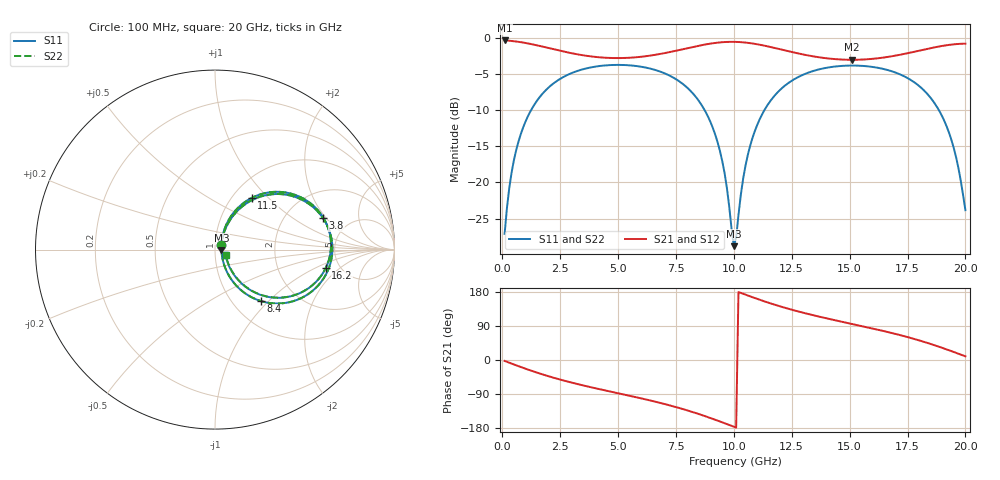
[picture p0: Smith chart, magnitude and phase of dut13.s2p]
! Touchstone file exported from HFSS 2026.1.0
!  File:  C:/ffzhzh/LocalFiles/Ansys_Project_Files/temp_train_TSV_RDL_13_1782961690_45568.aedt
!  Generated:  11:20:09 AM Jul  2, 2026
!  Design:  TSV_RDL
!  Project:  temp_train_TSV_RDL_13_1782961690_45568
! Variables:
!  h_bsmrdl = 3.62um
!  h_ox = 20um
!  h_rdl = 5um
!  h_sub = 79.27um
!  h_tmrdl = 4.14um
!  h_tsv = 79.27um
!  h_via = 3um
!  l_bsmrdl = 866.64um
!  l_sub = 5837.88um
!  l_tmrdl = 687.68um
!  m_sub = 200um
!  pitch = 59.45um
!  r_tsv = 14.25um
!  s_tmrdl = 10um
!  w_bsmrdl = 15.38um
!  w_sub = 500um
!  w_tmrdl = 13.7um
!  x_tsv_center1 = 694.53um
!  x_tsv_center2 = 1576.55um
!  x_tsv_center3 = 2277.93um
!  x_tsv_center4 = 3159.95um
!  x_tsv_center5 = 3861.33um
!  x_tsv_center6 = 4743.35um
# GHz S MA R 50.000000
! Terminal data exported
! Port[1] = TM_RDL1_1_T1
! Port[2] = TM_RDL5_1_T1
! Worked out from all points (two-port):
!   200 points, 100 MHz to 20 GHz, reference 50 ohm
!   highest |S21| = -0.30 dB at 100 MHz (marker M1); lowest = -3.0 dB at 15.1 GHz (marker M2)
!   |S21| within 3 dB of the highest: start of sweep to end of sweep
!   lowest |S11| = -28.8 dB at 10 GHz (marker M3), VSWR 1.08, Z = 53.7 - j0.416 ohm
!   |S11| at or under -10 dB: start of sweep to 1.239 GHz; 8.743 GHz to 11.32 GHz (2.572 GHz wide, 25.6 % of centre); 18.86 GHz to end of sweep
!   |S22| runs from -28.8 to -3.7 dB; largest |S21 - S12| = 1.6e-14
!   S11 on the Smith chart (normalised r, x): 100 MHz: 1.07, +0.06; 3.8 GHz: 3.22, +1.85; 8.4 GHz: 1.34, -0.90; 11.5 GHz: 1.22, +0.80; 16.2 GHz: 3.86, -1.32; 20 GHz: 1.12, -0.06
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0.1  0.044 38.2  0.9662 -2.4  0.9662 -2.4  0.044 38.2
! Gamma 0 0 0 0
! Port Impedance 50 0 50 0
0.5  0.1424 63.6  0.9546 -11.8  0.9546 -11.8  0.1424 63.6
1.1  0.2864 57.6  0.9221 -25.1  0.9221 -25.1  0.2864 57.6
2.2  0.485 39.5  0.8409 -46.5  0.8409 -46.5  0.485 39.5
3.5  0.611 20.2  0.7618 -67.2  0.7618 -67.2  0.611 20.2
3.8  0.6271 16.2  0.7499 -71.5  0.7499 -71.5  0.627 16.2
5.3  0.6523 -3.1  0.7306 -91.7  0.7306 -91.7  0.6523 -3.1
6.8  0.589 -23.1  0.7779 -112.9  0.7779 -112.9  0.589 -23.1
8.4  0.3844 -48.3  0.8824 -140.9  0.8824 -140.9  0.3844 -48.2
9.4  0.1653 -61.9  0.9365 -162.3  0.9365 -162.3  0.1653 -61.8
9.7  0.09162 -58.0  0.9436 -169.1  0.9436 -169.1  0.09159 -58.0
10  0.03615 -6.1  0.945 -176.0  0.945 -176.0  0.03618 -6.1
10.1  0.04153 30.6  0.9441 -178.3  0.9441 -178.3  0.04158 30.7
10.6  0.1545 65.6  0.9304 170.3  0.9304 170.3  0.1545 65.6
11.5  0.3529 54.7  0.8765 151.1  0.8765 151.1  0.353 54.7
13.4  0.5915 25.8  0.7507 118.6  0.7507 118.6  0.5915 25.8
15.1  0.6472 4.2  0.7093 95.2  0.7093 95.2  0.6472 4.2
16.2  0.6252 -9.6  0.7262 80.3  0.7262 80.3  0.6252 -9.5
16.7  0.5988 -16.1  0.745 73.1  0.745 73.1  0.5988 -16.1
18.9  0.3081 -48.4  0.8797 34.2  0.8797 34.2  0.3082 -48.1
19.5  0.1728 -53.0  0.9083 21.1  0.9083 21.1  0.1732 -52.5
20  0.06422 -26.0  0.9181 9.7  0.9181 9.7  0.06543 -25.2
